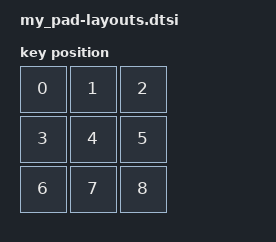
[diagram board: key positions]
#include <physical_layouts.dtsi>

/ {
    physical_layout0: physical_layout_0 {
        compatible = "zmk,physical-layout";
        display-name = "Default Layout";
        transform = <&default_transform>;
        kscan = <&kscan0>;
        keys  //                     w   h    x    y     rot    rx    ry
           = <&key_physical_attrs 100 100    0    0       0     0     0>
           , <&key_physical_attrs 100 100  100    0       0     0     0>
           , <&key_physical_attrs 100 100  200    0       0     0     0>
           , <&key_physical_attrs 100 100    0  100       0     0     0>
           , <&key_physical_attrs 100 100  100  100       0     0     0>
           , <&key_physical_attrs 100 100  200  100       0     0     0>
           , <&key_physical_attrs 100 100  0    200       0     0     0>
           , <&key_physical_attrs 100 100  100  200       0     0     0>
           , <&key_physical_attrs 100 100  200  200       0     0     0>
           ;
    };

    keypad_position_map {
        compatible = "zmk,physical-layout-position-map";
        complete; // Optional, see 'Example non-complete position map'
        macropad_map: macropad {
            physical-layout = <&physical_layout0>;
            positions 
                = <0 1 2>
                , <3 4 5>
                , <6 7 8>;
        };
    };
};

